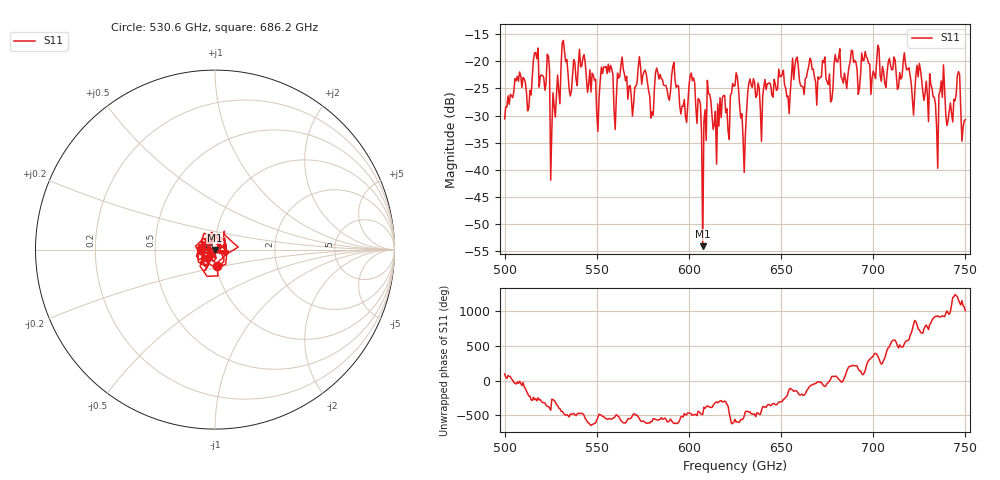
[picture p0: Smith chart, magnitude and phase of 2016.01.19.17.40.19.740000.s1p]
!Created with skrf (http://scikit-rf.org).
# GHz S RI R 50.0
!freq ReS11 ImS11
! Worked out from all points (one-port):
!   401 points, 500 GHz to 750 GHz, reference 50 ohm
!   lowest |S11| = -54.1 dB at 607.5 GHz (marker M1), VSWR 1.00, Z = 49.9 - j0.152 ohm
!   |S11| at or under -10 dB: start of sweep to end of sweep
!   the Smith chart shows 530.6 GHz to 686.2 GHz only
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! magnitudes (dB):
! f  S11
! 500 GHz  -30.6
! 506.9 GHz  -22.8
! 513.1 GHz  -28.6
! 516.9 GHz  -18.4
! 523.1 GHz  -18.7
! 526.2 GHz  -25.8
! 531.2 GHz  -16.6
! 550 GHz  -29.6
! 562.5 GHz  -22.8
! 569.4 GHz  -30.1
! 576.2 GHz  -21.6
! 579.4 GHz  -30.5
! 583.1 GHz  -22.1
! 593.8 GHz  -24.5
! 598.1 GHz  -30.2
! 601.9 GHz  -23.6
! 607.5 GHz  -54.1
! 611.2 GHz  -26.1
! 613.8 GHz  -31.6
! 625 GHz  -24.5
! 629.4 GHz  -34.2
! 633.8 GHz  -24.4
! 656.2 GHz  -19.4
! 687.5 GHz  -20.1
! 718.8 GHz  -21.5
! 733.8 GHz  -27.8
! 745.6 GHz  -22.6
! 750 GHz  -30.8
